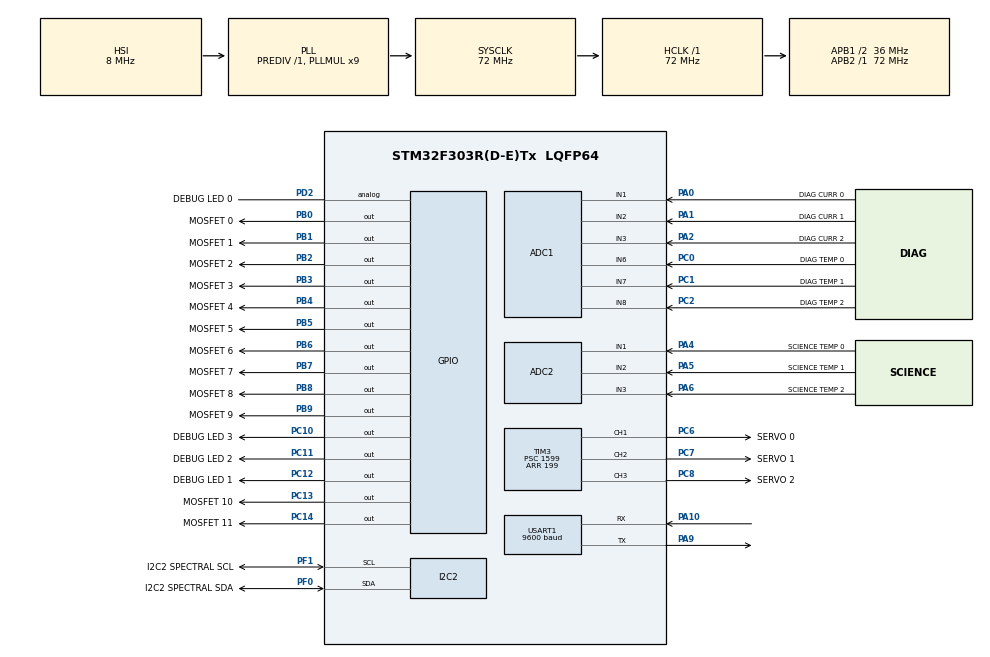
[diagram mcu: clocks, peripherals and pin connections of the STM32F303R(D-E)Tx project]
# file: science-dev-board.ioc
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ADC1.Channel-0\#ChannelRegularConversion=ADC_CHANNEL_1
ADC1.Channel-1\#ChannelRegularConversion=ADC_CHANNEL_2
ADC1.Channel-2\#ChannelRegularConversion=ADC_CHANNEL_3
ADC1.Channel-3\#ChannelRegularConversion=ADC_CHANNEL_6
ADC1.Channel-4\#ChannelRegularConversion=ADC_CHANNEL_7
ADC1.Channel-5\#ChannelRegularConversion=ADC_CHANNEL_8
ADC1.DMAContinuousRequests=ENABLE
ADC1.NbrOfConversion=6
ADC1.NbrOfConversionFlag=1
ADC1.Offset-0\#ChannelRegularConversion=0
ADC1.Offset-1\#ChannelRegularConversion=0
ADC1.Offset-2\#ChannelRegularConversion=0
ADC1.Offset-3\#ChannelRegularConversion=0
ADC1.Offset-4\#ChannelRegularConversion=0
ADC1.Offset-5\#ChannelRegularConversion=0
ADC1.OffsetNumber-0\#ChannelRegularConversion=ADC_OFFSET_NONE
ADC1.OffsetNumber-1\#ChannelRegularConversion=ADC_OFFSET_NONE
ADC1.OffsetNumber-2\#ChannelRegularConversion=ADC_OFFSET_NONE
ADC1.OffsetNumber-3\#ChannelRegularConversion=ADC_OFFSET_NONE
ADC1.OffsetNumber-4\#ChannelRegularConversion=ADC_OFFSET_NONE
ADC1.OffsetNumber-5\#ChannelRegularConversion=ADC_OFFSET_NONE
ADC1.Rank-0\#ChannelRegularConversion=1
ADC1.Rank-1\#ChannelRegularConversion=2
ADC1.Rank-2\#ChannelRegularConversion=3
ADC1.Rank-3\#ChannelRegularConversion=4
ADC1.Rank-4\#ChannelRegularConversion=5
ADC1.Rank-5\#ChannelRegularConversion=6
ADC1.SamplingTime-0\#ChannelRegularConversion=ADC_SAMPLETIME_1CYCLE_5
ADC1.SamplingTime-1\#ChannelRegularConversion=ADC_SAMPLETIME_1CYCLE_5
ADC1.SamplingTime-2\#ChannelRegularConversion=ADC_SAMPLETIME_1CYCLE_5
ADC1.SamplingTime-3\#ChannelRegularConversion=ADC_SAMPLETIME_1CYCLE_5
ADC1.SamplingTime-4\#ChannelRegularConversion=ADC_SAMPLETIME_1CYCLE_5
ADC1.SamplingTime-5\#ChannelRegularConversion=ADC_SAMPLETIME_1CYCLE_5
ADC1.master=1
ADC2.Channel-1\#ChannelRegularConversion=ADC_CHANNEL_1
ADC2.Channel-2\#ChannelRegularConversion=ADC_CHANNEL_2
ADC2.Channel-3\#ChannelRegularConversion=ADC_CHANNEL_3
ADC2.DMAContinuousRequests=ENABLE
ADC2.NbrOfConversion=3
ADC2.NbrOfConversionFlag=1
ADC2.Offset-1\#ChannelRegularConversion=0
ADC2.Offset-2\#ChannelRegularConversion=0
ADC2.Offset-3\#ChannelRegularConversion=0
ADC2.OffsetNumber-1\#ChannelRegularConversion=ADC_OFFSET_NONE
ADC2.OffsetNumber-2\#ChannelRegularConversion=ADC_OFFSET_NONE
ADC2.OffsetNumber-3\#ChannelRegularConversion=ADC_OFFSET_NONE
ADC2.Rank-1\#ChannelRegularConversion=1
ADC2.Rank-2\#ChannelRegularConversion=2
ADC2.Rank-3\#ChannelRegularConversion=3
ADC2.SamplingTime-1\#ChannelRegularConversion=ADC_SAMPLETIME_1CYCLE_5
ADC2.SamplingTime-2\#ChannelRegularConversion=ADC_SAMPLETIME_1CYCLE_5
ADC2.SamplingTime-3\#ChannelRegularConversion=ADC_SAMPLETIME_1CYCLE_5
ADC2.SamplingTimeOPAMP-2\#ChannelRegularConversion=ADC_SAMPLETIME_61CYCLES_5
ADC2.SamplingTimeOPAMP-3\#ChannelRegularConversion=ADC_SAMPLETIME_61CYCLES_5
Dma.ADC1.0.Direction=DMA_PERIPH_TO_MEMORY
Dma.ADC1.0.Instance=DMA1_Channel1
Dma.ADC1.0.MemDataAlignment=DMA_MDATAALIGN_HALFWORD
Dma.ADC1.0.MemInc=DMA_MINC_ENABLE
Dma.ADC1.0.Mode=DMA_CIRCULAR
Dma.ADC1.0.PeriphDataAlignment=DMA_PDATAALIGN_HALFWORD
Dma.ADC1.0.PeriphInc=DMA_PINC_DISABLE
Dma.ADC1.0.Priority=DMA_PRIORITY_LOW
Dma.ADC2.1.Direction=DMA_PERIPH_TO_MEMORY
Dma.ADC2.1.Instance=DMA2_Channel1
Dma.ADC2.1.MemDataAlignment=DMA_MDATAALIGN_HALFWORD
Dma.ADC2.1.MemInc=DMA_MINC_ENABLE
Dma.ADC2.1.Mode=DMA_CIRCULAR
Dma.ADC2.1.PeriphDataAlignment=DMA_PDATAALIGN_HALFWORD
Dma.ADC2.1.PeriphInc=DMA_PINC_DISABLE
Dma.ADC2.1.Priority=DMA_PRIORITY_LOW
Dma.Request0=ADC1
Dma.Request1=ADC2
Mcu.Family=STM32F3
Mcu.Name=STM32F303R(D-E)Tx
Mcu.Package=LQFP64
NVIC.DMA1_Channel1_IRQn=true\:0\:0\:false\:false\:true\:false\:true\:true
NVIC.DMA2_Channel1_IRQn=true\:0\:0\:false\:false\:true\:false\:true\:true
NVIC.PriorityGroup=NVIC_PRIORITYGROUP_0
PA0.GPIO_Label=DIAG CURR 0
PA0.Mode=IN1-Single-Ended
PA0.Signal=ADC1_IN1
PA1.GPIO_Label=DIAG CURR 1
PA1.Mode=IN2-Single-Ended
PA1.Signal=ADC1_IN2
PA10.Mode=Asynchronous
PA10.Signal=USART1_RX
PA13.Mode=Serial_Wire
PA13.Signal=SYS_JTMS-SWDIO
PA14.Mode=Serial_Wire
PA14.Signal=SYS_JTCK-SWCLK
PA2.GPIO_Label=DIAG CURR 2
PA2.Mode=IN3-Single-Ended
PA2.Signal=ADC1_IN3
PA4.GPIO_Label=SCIENCE TEMP 0
PA4.Mode=IN1-Single-Ended
PA4.Signal=ADC2_IN1
PA5.GPIO_Label=SCIENCE TEMP 1
PA5.Mode=IN2-Single-Ended
PA5.Signal=ADC2_IN2
PA6.GPIO_Label=SCIENCE TEMP 2
PA6.Mode=IN3-Single-Ended
PA6.Signal=ADC2_IN3
PA9.Mode=Asynchronous
PA9.Signal=USART1_TX
PB0.GPIO_Label=MOSFET 0
PB0.Signal=GPIO_Output
PB1.GPIO_Label=MOSFET 1
PB1.Signal=GPIO_Output
PB2.GPIO_Label=MOSFET 2
PB2.Signal=GPIO_Output
PB3.GPIO_Label=MOSFET 3
PB3.Signal=GPIO_Output
PB4.GPIO_Label=MOSFET 4
PB4.Signal=GPIO_Output
PB5.GPIO_Label=MOSFET 5
PB5.Signal=GPIO_Output
PB6.GPIO_Label=MOSFET 6
PB6.Signal=GPIO_Output
PB7.GPIO_Label=MOSFET 7
PB7.Signal=GPIO_Output
PB8.GPIO_Label=MOSFET 8
PB8.Signal=GPIO_Output
PB9.GPIO_Label=MOSFET 9
PB9.Signal=GPIO_Output
PC0.GPIO_Label=DIAG TEMP 0
PC0.Signal=ADCx_IN6
PC1.GPIO_Label=DIAG TEMP 1
PC1.Signal=ADCx_IN7
PC10.GPIO_Label=DEBUG LED 3
PC10.Signal=GPIO_Output
PC11.GPIO_Label=DEBUG LED 2
PC11.Signal=GPIO_Output
PC12.GPIO_Label=DEBUG LED 1
PC12.Signal=GPIO_Output
PC13.GPIO_Label=MOSFET 10
PC13.Signal=GPIO_Output
PC14-OSC32_IN.GPIO_Label=MOSFET 11
PC14-OSC32_IN.Signal=GPIO_Output
PC2.GPIO_Label=DIAG TEMP 2
PC2.Signal=ADCx_IN8
PC6.GPIO_Label=SERVO 0
PC6.Signal=S_TIM3_CH1
PC7.GPIO_Label=SERVO 1
PC7.Signal=S_TIM3_CH2
PC8.GPIO_Label=SERVO 2
PC8.Signal=S_TIM3_CH3
PD2.GPIO_Label=DEBUG LED 0
PD2.Signal=GPIO_Analog
PF0-OSC_IN.GPIO_Label=I2C2 SPECTRAL SDA
PF0-OSC_IN.Mode=I2C
PF0-OSC_IN.Signal=I2C2_SDA
PF1-OSC_OUT.GPIO_Label=I2C2 SPECTRAL SCL
PF1-OSC_OUT.Mode=I2C
PF1-OSC_OUT.Signal=I2C2_SCL
ProjectManager.HeapSize=0x200
ProjectManager.StackSize=0x400
ProjectManager.TargetToolchain=STM32CubeIDE
RCC.AHBFreq_Value=72000000
RCC.APB1CLKDivider=RCC_HCLK_DIV2
RCC.APB1Freq_Value=36000000
RCC.APB1TimFreq_Value=72000000
RCC.APB2Freq_Value=72000000
RCC.APB2TimFreq_Value=72000000
RCC.CortexFreq_Value=72000000
RCC.HCLKFreq_Value=72000000
RCC.HSE_VALUE=8000000
RCC.HSI_VALUE=8000000
RCC.LSE_VALUE=32768
RCC.PLLM=8
RCC.PLLMUL=RCC_PLL_MUL9
RCC.PLLN=336
RCC.PLLP=RCC_PLLP_DIV4
RCC.PLLQ=7
RCC.RCC_PLLsource_Clock_Source_FROM_HSE=RCC_HSE_PREDIV_DIV2
RCC.SYSCLKFreq_VALUE=72000000
RCC.SYSCLKSourceVirtual=RCC_SYSCLKSOURCE_PLLCLK
RCC.USBFreq_Value=72000000
SH.ADCx_IN6.0=ADC1_IN6,IN6-Single-Ended
SH.ADCx_IN7.0=ADC1_IN7,IN7-Single-Ended
SH.ADCx_IN8.0=ADC1_IN8,IN8-Single-Ended
SH.S_TIM3_CH1.0=TIM3_CH1,PWM Generation1 CH1
SH.S_TIM3_CH2.0=TIM3_CH2,PWM Generation2 CH2
SH.S_TIM3_CH3.0=TIM3_CH3,PWM Generation3 CH3
TIM3.Channel-PWM\ Generation1\ CH1=TIM_CHANNEL_1
TIM3.Channel-PWM\ Generation2\ CH2=TIM_CHANNEL_2
TIM3.Channel-PWM\ Generation3\ CH3=TIM_CHANNEL_3
TIM3.Period=199
TIM3.Prescaler=1599
USART1.BaudRate=9600
USART1.VirtualMode-Asynchronous=VM_ASYNC
VP_TIM3_VS_ClockSourceINT.Mode=Internal
board=NUCLEO-F303RE

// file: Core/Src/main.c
/* USER CODE BEGIN Header */
/**
  ******************************************************************************
  * @file           : main.c
  * @brief          : Main program body
  ******************************************************************************
  * @attention
  *
  * Copyright (c) 2022 STMicroelectronics.
  * All rights reserved.
  *
  * This software is licensed under terms that can be found in the LICENSE file
  * in the root directory of this software component.
  * If no LICENSE file comes with this software, it is provided AS-IS.
  *
  ******************************************************************************
  */
/* USER CODE END Header */
#include "main.h"

/* USER CODE BEGIN Includes */

#include "adc_sensor.h"
#include "bridge.h"
#include "diag_curr_sensor.h"
#include "diag_temp_sensor.h"
#include "heater.h"
#include "pin_data.h"
#include "servo.h"
#include "stm32f3xx_hal_conf.h"
#include "stm32f3xx_it.h"
#include "thermistor.h"

/* USER CODE END Includes */

/* USER CODE BEGIN PD */

#define NUM_MOSFET_DEVICES 12
#define NUM_DIAG_CURRENT_SENSORS 3
#define NUM_DIAG_TEMP_SENSORS 3
#define NUM_SCIENCE_TEMP_SENSORS 3
#define NUM_SERVOS 3
#define NUM_HEATERS 3
#define NUM_DEBUG_LEDS 4

#define HEATER_0_MOSFET_PIN 3
#define HEATER_1_MOSFET_PIN 4
#define HEATER_2_MOSFET_PIN 5

/* USER CODE END PD */

ADC_HandleTypeDef hadc1;
ADC_HandleTypeDef hadc2;
DMA_HandleTypeDef hdma_adc1;
DMA_HandleTypeDef hdma_adc2;

I2C_HandleTypeDef hi2c2;

TIM_HandleTypeDef htim3;

UART_HandleTypeDef huart1;

/* USER CODE BEGIN PV */

ADCSensor* adc_sensor_0 = NULL;
ADCSensor* adc_sensor_1 = NULL;
Bridge* bridge = NULL;
DiagCurrentSensor* diag_current_sensors[NUM_DIAG_CURRENT_SENSORS] = {NULL};
DiagTempSensor* diag_temp_sensors[NUM_DIAG_TEMP_SENSORS] = {NULL};
Heater* science_heaters[NUM_HEATERS] = {NULL};
PinData* debug_leds[NUM_DEBUG_LEDS] = {NULL};
PinData* heater_pins[NUM_HEATERS] = {NULL};
PinData* mosfet_pins[NUM_MOSFET_DEVICES] = {NULL};
Servo* servos[NUM_SERVOS] = {NULL};
SMBus* smbus = NULL;
Spectral* spectral = NULL;
Thermistor* science_temp_sensors[NUM_SCIENCE_TEMP_SENSORS] = {NULL};

float diag_temperatures[3] = {0};
float diag_currents[3] = {0};

/* USER CODE END PV */

void SystemClock_Config(void);
static void MX_GPIO_Init(void);
static void MX_DMA_Init(void);
static void MX_ADC1_Init(void);
static void MX_ADC2_Init(void);
static void MX_I2C2_Init(void);
static void MX_TIM3_Init(void);
static void MX_USART1_UART_Init(void);

int main(void)
{
  /* USER CODE BEGIN 1 */
	adc_sensor_0 = new_adc_sensor(&hadc1, 6);
	adc_sensor_1 = new_adc_sensor(&hadc2, 3);

	bridge = new_bridge(&huart1);

	diag_current_sensors[0] = new_diag_current_sensor(adc_sensor_0, 0);
	diag_current_sensors[1] = new_diag_current_sensor(adc_sensor_0, 1);
	diag_current_sensors[2] = new_diag_current_sensor(adc_sensor_0, 2);

	diag_temp_sensors[0] = new_diag_temp_sensor(adc_sensor_0, 3);
	diag_temp_sensors[1] = new_diag_temp_sensor(adc_sensor_0, 4);
	diag_temp_sensors[2] = new_diag_temp_sensor(adc_sensor_0, 5);

	debug_leds[0] = new_pin_data(DEBUG_LED_0_GPIO_Port, DEBUG_LED_0_Pin, PIN_IS_OUTPUT);
	debug_leds[1] = new_pin_data(DEBUG_LED_1_GPIO_Port, DEBUG_LED_1_Pin, PIN_IS_OUTPUT);
	debug_leds[2] = new_pin_data(DEBUG_LED_2_GPIO_Port, DEBUG_LED_2_Pin, PIN_IS_OUTPUT);
	debug_leds[3] = new_pin_data(DEBUG_LED_3_GPIO_Port, DEBUG_LED_3_Pin, PIN_IS_OUTPUT);

	mosfet_pins[0] = new_pin_data(MOSFET_0_GPIO_Port, MOSFET_0_Pin, PIN_IS_OUTPUT);
	mosfet_pins[1] = new_pin_data(MOSFET_1_GPIO_Port, MOSFET_1_Pin, PIN_IS_OUTPUT);
	mosfet_pins[2] = new_pin_data(MOSFET_2_GPIO_Port, MOSFET_2_Pin, PIN_IS_OUTPUT);
	mosfet_pins[3] = new_pin_data(MOSFET_3_GPIO_Port, MOSFET_3_Pin, PIN_IS_OUTPUT);
	mosfet_pins[4] = new_pin_data(MOSFET_4_GPIO_Port, MOSFET_4_Pin, PIN_IS_OUTPUT);
	mosfet_pins[5] = new_pin_data(MOSFET_5_GPIO_Port, MOSFET_5_Pin, PIN_IS_OUTPUT);
	mosfet_pins[6] = new_pin_data(MOSFET_6_GPIO_Port, MOSFET_6_Pin, PIN_IS_OUTPUT);
	mosfet_pins[7] = new_pin_data(MOSFET_7_GPIO_Port, MOSFET_7_Pin, PIN_IS_OUTPUT);
	mosfet_pins[8] = new_pin_data(MOSFET_8_GPIO_Port, MOSFET_8_Pin, PIN_IS_OUTPUT);
	mosfet_pins[9] = new_pin_data(MOSFET_9_GPIO_Port, MOSFET_9_Pin, PIN_IS_OUTPUT);
	mosfet_pins[10] = new_pin_data(MOSFET_10_GPIO_Port, MOSFET_10_Pin, PIN_IS_OUTPUT);
	mosfet_pins[11] = new_pin_data(MOSFET_11_GPIO_Port, MOSFET_11_Pin, PIN_IS_OUTPUT);

	heater_pins[0] = mosfet_pins[HEATER_0_MOSFET_PIN];
	heater_pins[1] = mosfet_pins[HEATER_1_MOSFET_PIN];
	heater_pins[2] = mosfet_pins[HEATER_2_MOSFET_PIN];

	servos[0] = new_servo(&htim3, TIM_CHANNEL_1, &(TIM3->CCR1));
	servos[1] = new_servo(&htim3, TIM_CHANNEL_2, &(TIM3->CCR2));
	servos[2] = new_servo(&htim3, TIM_CHANNEL_3, &(TIM3->CCR3));

	// TODO: implement spectral code
	smbus = new_smbus(&hi2c2, NULL, 0x49, false);
	spectral = new_spectral(smbus);

	science_temp_sensors[0] = new_thermistor(adc_sensor_1, 0);
	science_temp_sensors[1] = new_thermistor(adc_sensor_1, 1);
	science_temp_sensors[2] = new_thermistor(adc_sensor_1, 2);

	science_heaters[0] = new_heater(heater_pins[0], science_temp_sensors[0]);
	science_heaters[1] = new_heater(heater_pins[1], science_temp_sensors[1]);
	science_heaters[2] = new_heater(heater_pins[2], science_temp_sensors[2]);

  /* USER CODE END 1 */

  /* MCU Configuration--------------------------------------------------------*/

  /* Reset of all peripherals, Initializes the Flash interface and the Systick. */
  HAL_Init();

  /* Configure the system clock */
  SystemClock_Config();

  /* Initialize all configured peripherals */
  MX_GPIO_Init();
  MX_DMA_Init();
  MX_ADC1_Init();
  MX_ADC2_Init();
  MX_I2C2_Init();
  MX_TIM3_Init();
  MX_USART1_UART_Init();

  /* Infinite loop */
  while (1)
  {

    /* USER CODE BEGIN 3 */
	  /*
	   * In a while loop, we will need to get the following data and send it over:
	   * Diagnostic Temperatures and Currents
	   * Science Temperatures
	   * Spectral sensor data
	   * State of auto-shut off state of the heater (upon change).
	   * State of the heater (upon change).
	   */
	  update_adc_sensor_values(adc_sensor_0);
	  update_adc_sensor_values(adc_sensor_1);
	  for (size_t i = 0; i < NUM_DIAG_TEMP_SENSORS; ++i) {
		  update_diag_temp_sensor_val(diag_temp_sensors[i]);
		  diag_temperatures[i] = get_diag_temp_sensor_val(diag_temp_sensors[i]);
	  }
	  for (size_t i = 0; i < NUM_DIAG_CURRENT_SENSORS; ++i) {
		  update_diag_current_sensor_val(diag_current_sensors[i]);
		  diag_currents[i] = get_diag_current_sensor_val(diag_current_sensors[i]);
	  }
	  bridge_send_diagnostic(bridge, diag_temperatures, diag_currents);

  }
  /* USER CODE END 3 */
}

void SystemClock_Config(void)
{
  RCC_OscInitTypeDef RCC_OscInitStruct = {0};
  RCC_ClkInitTypeDef RCC_ClkInitStruct = {0};
  RCC_PeriphCLKInitTypeDef PeriphClkInit = {0};

  /** Initializes the RCC Oscillators according to the specified parameters
  * in the RCC_OscInitTypeDef structure.
  */
  RCC_OscInitStruct.OscillatorType = RCC_OSCILLATORTYPE_HSI;
  RCC_OscInitStruct.HSIState = RCC_HSI_ON;
  RCC_OscInitStruct.HSICalibrationValue = RCC_HSICALIBRATION_DEFAULT;
  RCC_OscInitStruct.PLL.PLLState = RCC_PLL_ON;
  RCC_OscInitStruct.PLL.PLLSource = RCC_PLLSOURCE_HSI;
  RCC_OscInitStruct.PLL.PLLMUL = RCC_PLL_MUL9;
  RCC_OscInitStruct.PLL.PREDIV = RCC_PREDIV_DIV1;
  if (HAL_RCC_OscConfig(&RCC_OscInitStruct) != HAL_OK)
  {
    Error_Handler();
  }

  /** Initializes the CPU, AHB and APB buses clocks
  */
  RCC_ClkInitStruct.ClockType = RCC_CLOCKTYPE_HCLK|RCC_CLOCKTYPE_SYSCLK
                              |RCC_CLOCKTYPE_PCLK1|RCC_CLOCKTYPE_PCLK2;
  RCC_ClkInitStruct.SYSCLKSource = RCC_SYSCLKSOURCE_PLLCLK;
  RCC_ClkInitStruct.AHBCLKDivider = RCC_SYSCLK_DIV1;
  RCC_ClkInitStruct.APB1CLKDivider = RCC_HCLK_DIV2;
  RCC_ClkInitStruct.APB2CLKDivider = RCC_HCLK_DIV1;

  if (HAL_RCC_ClockConfig(&RCC_ClkInitStruct, FLASH_LATENCY_2) != HAL_OK)
  {
    Error_Handler();
  }
  PeriphClkInit.PeriphClockSelection = RCC_PERIPHCLK_USART1|RCC_PERIPHCLK_I2C2
                              |RCC_PERIPHCLK_ADC12|RCC_PERIPHCLK_TIM34;
  PeriphClkInit.Usart1ClockSelection = RCC_USART1CLKSOURCE_PCLK2;
  PeriphClkInit.Adc12ClockSelection = RCC_ADC12PLLCLK_DIV1;
  PeriphClkInit.I2c2ClockSelection = RCC_I2C2CLKSOURCE_HSI;
  PeriphClkInit.Tim34ClockSelection = RCC_TIM34CLK_HCLK;
  if (HAL_RCCEx_PeriphCLKConfig(&PeriphClkInit) != HAL_OK)
  {
    Error_Handler();
  }
}

static void MX_ADC1_Init(void)
{

  ADC_MultiModeTypeDef multimode = {0};
  ADC_ChannelConfTypeDef sConfig = {0};

  /** Common config
  */
  hadc1.Instance = ADC1;
  hadc1.Init.ClockPrescaler = ADC_CLOCK_ASYNC_DIV1;
  hadc1.Init.Resolution = ADC_RESOLUTION_12B;
  hadc1.Init.ScanConvMode = ADC_SCAN_ENABLE;
  hadc1.Init.ContinuousConvMode = DISABLE;
  hadc1.Init.DiscontinuousConvMode = DISABLE;
  hadc1.Init.ExternalTrigConvEdge = ADC_EXTERNALTRIGCONVEDGE_NONE;
  hadc1.Init.ExternalTrigConv = ADC_SOFTWARE_START;
  hadc1.Init.DataAlign = ADC_DATAALIGN_RIGHT;
  hadc1.Init.NbrOfConversion = 6;
  hadc1.Init.DMAContinuousRequests = ENABLE;
  hadc1.Init.EOCSelection = ADC_EOC_SINGLE_CONV;
  hadc1.Init.LowPowerAutoWait = DISABLE;
  hadc1.Init.Overrun = ADC_OVR_DATA_OVERWRITTEN;
  if (HAL_ADC_Init(&hadc1) != HAL_OK)
  {
    Error_Handler();
  }

  /** Configure the ADC multi-mode
  */
  multimode.Mode = ADC_MODE_INDEPENDENT;
  if (HAL_ADCEx_MultiModeConfigChannel(&hadc1, &multimode) != HAL_OK)
  {
    Error_Handler();
  }

  /** Configure Regular Channel
  */
  sConfig.Channel = ADC_CHANNEL_1;
  sConfig.Rank = ADC_REGULAR_RANK_1;
  sConfig.SingleDiff = ADC_SINGLE_ENDED;
  sConfig.SamplingTime = ADC_SAMPLETIME_1CYCLE_5;
  sConfig.OffsetNumber = ADC_OFFSET_NONE;
  sConfig.Offset = 0;
  if (HAL_ADC_ConfigChannel(&hadc1, &sConfig) != HAL_OK)
  {
    Error_Handler();
  }

  /** Configure Regular Channel
  */
  sConfig.Channel = ADC_CHANNEL_2;
  sConfig.Rank = ADC_REGULAR_RANK_2;
  if (HAL_ADC_ConfigChannel(&hadc1, &sConfig) != HAL_OK)
  {
    Error_Handler();
  }

  /** Configure Regular Channel
  */
  sConfig.Channel = ADC_CHANNEL_3;
  sConfig.Rank = ADC_REGULAR_RANK_3;
  if (HAL_ADC_ConfigChannel(&hadc1, &sConfig) != HAL_OK)
  {
    Error_Handler();
  }

  /** Configure Regular Channel
  */
  sConfig.Channel = ADC_CHANNEL_6;
  sConfig.Rank = ADC_REGULAR_RANK_4;
  if (HAL_ADC_ConfigChannel(&hadc1, &sConfig) != HAL_OK)
  {
    Error_Handler();
  }

  /** Configure Regular Channel
  */
  sConfig.Channel = ADC_CHANNEL_7;
  sConfig.Rank = ADC_REGULAR_RANK_5;
  if (HAL_ADC_ConfigChannel(&hadc1, &sConfig) != HAL_OK)
  {
    Error_Handler();
  }

  /** Configure Regular Channel
  */
  sConfig.Channel = ADC_CHANNEL_8;
  sConfig.Rank = ADC_REGULAR_RANK_6;
  if (HAL_ADC_ConfigChannel(&hadc1, &sConfig) != HAL_OK)
  {
    Error_Handler();
  }

}

static void MX_ADC2_Init(void)
{

  ADC_ChannelConfTypeDef sConfig = {0};

  /** Common config
  */
  hadc2.Instance = ADC2;
  hadc2.Init.ClockPrescaler = ADC_CLOCK_ASYNC_DIV1;
  hadc2.Init.Resolution = ADC_RESOLUTION_12B;
  hadc2.Init.ScanConvMode = ADC_SCAN_ENABLE;
  hadc2.Init.ContinuousConvMode = DISABLE;
  hadc2.Init.DiscontinuousConvMode = DISABLE;
  hadc2.Init.ExternalTrigConvEdge = ADC_EXTERNALTRIGCONVEDGE_NONE;
  hadc2.Init.ExternalTrigConv = ADC_SOFTWARE_START;
  hadc2.Init.DataAlign = ADC_DATAALIGN_RIGHT;
  hadc2.Init.NbrOfConversion = 3;
  hadc2.Init.DMAContinuousRequests = ENABLE;
  hadc2.Init.EOCSelection = ADC_EOC_SINGLE_CONV;
  hadc2.Init.LowPowerAutoWait = DISABLE;
  hadc2.Init.Overrun = ADC_OVR_DATA_OVERWRITTEN;
  if (HAL_ADC_Init(&hadc2) != HAL_OK)
  {
    Error_Handler();
  }

  /** Configure Regular Channel
  */
  sConfig.Channel = ADC_CHANNEL_1;
  sConfig.Rank = ADC_REGULAR_RANK_1;
  sConfig.SingleDiff = ADC_SINGLE_ENDED;
  sConfig.SamplingTime = ADC_SAMPLETIME_1CYCLE_5;
  sConfig.OffsetNumber = ADC_OFFSET_NONE;
  sConfig.Offset = 0;
  if (HAL_ADC_ConfigChannel(&hadc2, &sConfig) != HAL_OK)
  {
    Error_Handler();
  }

  /** Configure Regular Channel
  */
  sConfig.Channel = ADC_CHANNEL_2;
  sConfig.Rank = ADC_REGULAR_RANK_2;
  if (HAL_ADC_ConfigChannel(&hadc2, &sConfig) != HAL_OK)
  {
    Error_Handler();
  }

  /** Configure Regular Channel
  */
  sConfig.Channel = ADC_CHANNEL_3;
  sConfig.Rank = ADC_REGULAR_RANK_3;
  if (HAL_ADC_ConfigChannel(&hadc2, &sConfig) != HAL_OK)
  {
    Error_Handler();
  }

}

static void MX_I2C2_Init(void)
{

  hi2c2.Instance = I2C2;
  hi2c2.Init.Timing = 0x2000090E;
  hi2c2.Init.OwnAddress1 = 0;
  hi2c2.Init.AddressingMode = I2C_ADDRESSINGMODE_7BIT;
  hi2c2.Init.DualAddressMode = I2C_DUALADDRESS_DISABLE;
  hi2c2.Init.OwnAddress2 = 0;
  hi2c2.Init.OwnAddress2Masks = I2C_OA2_NOMASK;
  hi2c2.Init.GeneralCallMode = I2C_GENERALCALL_DISABLE;
  hi2c2.Init.NoStretchMode = I2C_NOSTRETCH_DISABLE;
  if (HAL_I2C_Init(&hi2c2) != HAL_OK)
  {
    Error_Handler();
  }

  /** Configure Analogue filter
  */
  if (HAL_I2CEx_ConfigAnalogFilter(&hi2c2, I2C_ANALOGFILTER_ENABLE) != HAL_OK)
  {
    Error_Handler();
  }

  /** Configure Digital filter
  */
  if (HAL_I2CEx_ConfigDigitalFilter(&hi2c2, 0) != HAL_OK)
  {
    Error_Handler();
  }

}

static void MX_TIM3_Init(void)
{

  TIM_ClockConfigTypeDef sClockSourceConfig = {0};
  TIM_MasterConfigTypeDef sMasterConfig = {0};
  TIM_OC_InitTypeDef sConfigOC = {0};

  htim3.Instance = TIM3;
  htim3.Init.Prescaler = 1599;
  htim3.Init.CounterMode = TIM_COUNTERMODE_UP;
  htim3.Init.Period = 199;
  htim3.Init.ClockDivision = TIM_CLOCKDIVISION_DIV1;
  htim3.Init.AutoReloadPreload = TIM_AUTORELOAD_PRELOAD_DISABLE;
  if (HAL_TIM_Base_Init(&htim3) != HAL_OK)
  {
    Error_Handler();
  }
  sClockSourceConfig.ClockSource = TIM_CLOCKSOURCE_INTERNAL;
  if (HAL_TIM_ConfigClockSource(&htim3, &sClockSourceConfig) != HAL_OK)
  {
    Error_Handler();
  }
  if (HAL_TIM_PWM_Init(&htim3) != HAL_OK)
  {
    Error_Handler();
  }
  sMasterConfig.MasterOutputTrigger = TIM_TRGO_RESET;
  sMasterConfig.MasterSlaveMode = TIM_MASTERSLAVEMODE_DISABLE;
  if (HAL_TIMEx_MasterConfigSynchronization(&htim3, &sMasterConfig) != HAL_OK)
  {
    Error_Handler();
  }
  sConfigOC.OCMode = TIM_OCMODE_PWM1;
  sConfigOC.Pulse = 0;
  sConfigOC.OCPolarity = TIM_OCPOLARITY_HIGH;
  sConfigOC.OCFastMode = TIM_OCFAST_DISABLE;
  if (HAL_TIM_PWM_ConfigChannel(&htim3, &sConfigOC, TIM_CHANNEL_1) != HAL_OK)
  {
    Error_Handler();
  }
  if (HAL_TIM_PWM_ConfigChannel(&htim3, &sConfigOC, TIM_CHANNEL_2) != HAL_OK)
  {
    Error_Handler();
  }
  if (HAL_TIM_PWM_ConfigChannel(&htim3, &sConfigOC, TIM_CHANNEL_3) != HAL_OK)
  {
    Error_Handler();
  }
  HAL_TIM_MspPostInit(&htim3);

}

static void MX_USART1_UART_Init(void)
{

  huart1.Instance = USART1;
  huart1.Init.BaudRate = 9600;
  huart1.Init.WordLength = UART_WORDLENGTH_8B;
  huart1.Init.StopBits = UART_STOPBITS_1;
  huart1.Init.Parity = UART_PARITY_NONE;
  huart1.Init.Mode = UART_MODE_TX_RX;
  huart1.Init.HwFlowCtl = UART_HWCONTROL_NONE;
  huart1.Init.OverSampling = UART_OVERSAMPLING_16;
  huart1.Init.OneBitSampling = UART_ONE_BIT_SAMPLE_DISABLE;
  huart1.AdvancedInit.AdvFeatureInit = UART_ADVFEATURE_NO_INIT;
  if (HAL_UART_Init(&huart1) != HAL_OK)
  {
    Error_Handler();
  }

}

static void MX_DMA_Init(void)
{

  /* DMA controller clock enable */
  __HAL_RCC_DMA1_CLK_ENABLE();
  __HAL_RCC_DMA2_CLK_ENABLE();

  /* DMA interrupt init */
  /* DMA1_Channel1_IRQn interrupt configuration */
  HAL_NVIC_SetPriority(DMA1_Channel1_IRQn, 0, 0);
  HAL_NVIC_EnableIRQ(DMA1_Channel1_IRQn);
  /* DMA2_Channel1_IRQn interrupt configuration */
  HAL_NVIC_SetPriority(DMA2_Channel1_IRQn, 0, 0);
  HAL_NVIC_EnableIRQ(DMA2_Channel1_IRQn);

}

static void MX_GPIO_Init(void)
{
  GPIO_InitTypeDef GPIO_InitStruct = {0};

  /* GPIO Ports Clock Enable */
  __HAL_RCC_GPIOC_CLK_ENABLE();
  __HAL_RCC_GPIOF_CLK_ENABLE();
  __HAL_RCC_GPIOA_CLK_ENABLE();
  __HAL_RCC_GPIOB_CLK_ENABLE();
  __HAL_RCC_GPIOD_CLK_ENABLE();

  /*Configure GPIO pin Output Level */
  HAL_GPIO_WritePin(GPIOC, MOSFET_10_Pin|MOSFET_11_Pin|DEBUG_LED_3_Pin|DEBUG_LED_2_Pin
                          |DEBUG_LED_1_Pin, GPIO_PIN_RESET);

  /*Configure GPIO pin Output Level */
  HAL_GPIO_WritePin(GPIOB, MOSFET_0_Pin|MOSFET_1_Pin|MOSFET_2_Pin|MOSFET_3_Pin
                          |MOSFET_4_Pin|MOSFET_5_Pin|MOSFET_6_Pin|MOSFET_7_Pin
                          |MOSFET_8_Pin|MOSFET_9_Pin, GPIO_PIN_RESET);

  /*Configure GPIO pins : MOSFET_10_Pin MOSFET_11_Pin DEBUG_LED_3_Pin DEBUG_LED_2_Pin
                           DEBUG_LED_1_Pin */
  GPIO_InitStruct.Pin = MOSFET_10_Pin|MOSFET_11_Pin|DEBUG_LED_3_Pin|DEBUG_LED_2_Pin
                          |DEBUG_LED_1_Pin;
  GPIO_InitStruct.Mode = GPIO_MODE_OUTPUT_PP;
  GPIO_InitStruct.Pull = GPIO_NOPULL;
  GPIO_InitStruct.Speed = GPIO_SPEED_FREQ_LOW;
  HAL_GPIO_Init(GPIOC, &GPIO_InitStruct);

  /*Configure GPIO pins : MOSFET_0_Pin MOSFET_1_Pin MOSFET_2_Pin MOSFET_3_Pin
                           MOSFET_4_Pin MOSFET_5_Pin MOSFET_6_Pin MOSFET_7_Pin
                           MOSFET_8_Pin MOSFET_9_Pin */
  GPIO_InitStruct.Pin = MOSFET_0_Pin|MOSFET_1_Pin|MOSFET_2_Pin|MOSFET_3_Pin
                          |MOSFET_4_Pin|MOSFET_5_Pin|MOSFET_6_Pin|MOSFET_7_Pin
                          |MOSFET_8_Pin|MOSFET_9_Pin;
  GPIO_InitStruct.Mode = GPIO_MODE_OUTPUT_PP;
  GPIO_InitStruct.Pull = GPIO_NOPULL;
  GPIO_InitStruct.Speed = GPIO_SPEED_FREQ_LOW;
  HAL_GPIO_Init(GPIOB, &GPIO_InitStruct);

  /*Configure GPIO pin : DEBUG_LED_0_Pin */
  GPIO_InitStruct.Pin = DEBUG_LED_0_Pin;
  GPIO_InitStruct.Mode = GPIO_MODE_ANALOG;
  GPIO_InitStruct.Pull = GPIO_NOPULL;
  HAL_GPIO_Init(DEBUG_LED_0_GPIO_Port, &GPIO_InitStruct);

}

void Error_Handler(void)
{
  __disable_irq();
  while (1)
  {
  }
}
